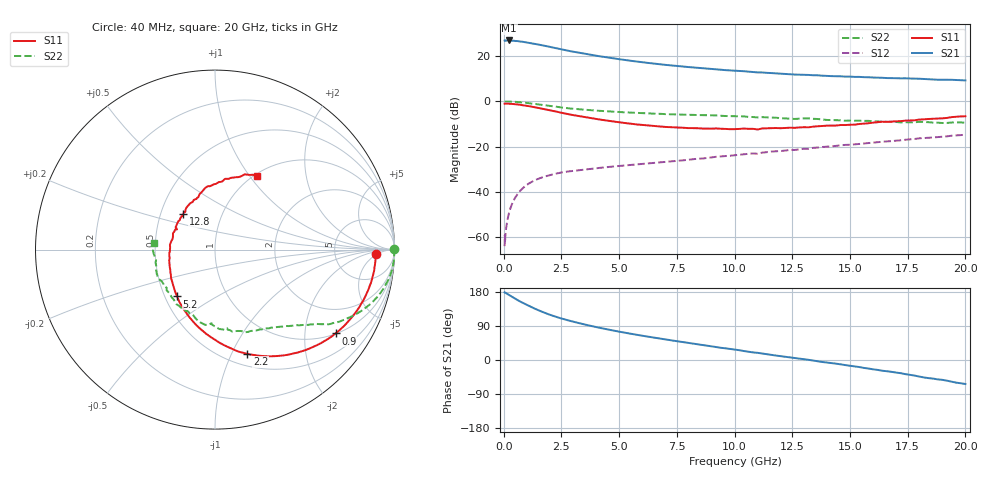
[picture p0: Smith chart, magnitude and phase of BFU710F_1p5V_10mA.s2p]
! Filename:  P:\Prog\Test\Noise\ATS_data\Testdata_Net\BFU710\BFU710_2W_A1_1.5V10mA_D.s2p
! Date/Time: Fri 29/Apr/2011 13:25:53
! BFU710_2W_A1_1.5V10mA
! bias mode 1: Vout= 1.5000 V, Iout=10.0200 mA, Vin= 0.8412 V, Iin= 0.0384 mA
! Date/time Wed Mar 16 12:36:49 2011
! Device data file deembeded for feedlines and parallel
! Original file: \BFU710\BFU710_2W_A1_1.5V10mA_R.s2p
! Feed-files: PR003V01_101208_Feed1.s2p, PR003V01_101208_Feed2.s2p
! Parallel-file: PR003V01_101208_Par.s2p
# MHz S MA R 50
!  Freq-MHz  S11-mag  S11-arg  S21-mag  S21-arg  S12-mag  S12-arg  S22-mag  S22-arg
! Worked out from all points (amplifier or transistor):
!   167 points, 40 MHz to 20 GHz, reference 50 ohm
!   highest |S21| = 27.0 dB at 240 MHz (marker M1)
!   |S21| within 3 dB of that: start of sweep to 2.067 GHz
!   unconditionally stable (mu >= 1): 5.102 GHz to 16.14 GHz
!   at 550 MHz: K = 0.08, MSG = 34.3 dB, |S12| = -41.8 dB
!   at 4.2 GHz: K = 0.88, MSG = 24.7 dB, |S12| = -29.4 dB
!   at 20 GHz: K = 0.80, MSG = 12.0 dB, |S12| = -14.7 dB
!   S11 on the Smith chart (normalised r, x): 40 MHz: 17, -4; 900 MHz: 1.02, -2.87; 2.2 GHz: 0.63, -1.15; 5.2 GHz: 0.58, -0.34; 12.8 GHz: 0.65, +0.28; 20 GHz: 1.03, +1.08
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40  0.8969 -1.6  22.42 178.6  0.0006228 89.1  0.9958 0.1
50  0.8996 -2.3  22.5 177.8  0.001095 66.9  0.9968 -0.3
60  0.8945 -2.5  22.18 177.6  0.0007541 81.0  0.9982 -0.5
90  0.8965 -3.6  22.49 176.7  0.001313 88.1  0.999 -1.3
240  0.8911 -9.7  22.5 171.2  0.003536 87.0  0.9969 -4.4
600  0.8594 -23.7  21.82 158.2  0.008856 79.2  0.9733 -11.3
900  0.8181 -34.8  20.61 148.3  0.0129 72.7  0.9407 -16.4
1150  0.7788 -43.1  19.74 140.9  0.01589 68.0  0.9085 -20.2
1450  0.7281 -52.5  18.51 132.7  0.01891 63.1  0.8689 -24.1
1800  0.6701 -62.5  17.04 124.0  0.0219 58.6  0.8242 -28.0
2200  0.6079 -72.7  15.42 115.3  0.02469 54.6  0.7751 -31.9
2700  0.5363 -84.3  13.6 106.1  0.02773 50.3  0.7165 -35.4
3400  0.4606 -98.0  11.68 95.3  0.03059 47.0  0.665 -39.1
4200  0.3952 -112.5  9.974 84.4  0.03399 44.9  0.6187 -43.0
5200  0.3361 -129.0  8.373 72.5  0.0381 42.9  0.5771 -47.8
6800  0.2787 -153.1  6.654 56.3  0.04484 41.4  0.5322 -55.4
8800  0.2504 179.1  5.356 37.8  0.05609 39.4  0.4945 -66.7
10200  0.2467 161.6  4.752 25.9  0.06608 36.5  0.468 -76.1
12800  0.266 132.0  3.934 4.2  0.08659 28.4  0.4153 -93.8
13400  0.2769 126.4  3.816 -1.4  0.09388 26.4  0.4138 -101.4
16800  0.358 93.0  3.296 -31.2  0.1322 9.7  0.3516 -136.1
20000  0.4705 60.4  2.929 -63.4  0.184 -12.5  0.3404 174.2
